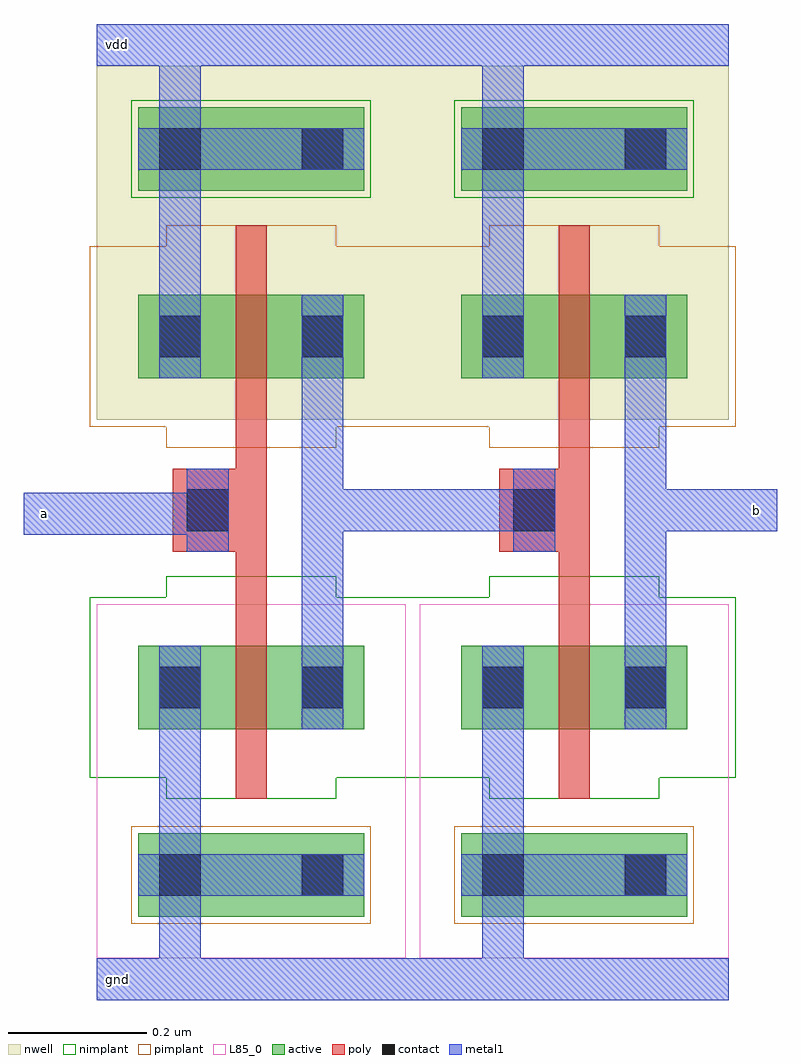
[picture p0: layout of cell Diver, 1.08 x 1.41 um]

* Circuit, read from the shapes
.subckt Diver a b gnd vdd
M1 n1 a gnd gnd nfet w=0.12u l=0.045u
M2 b n1 gnd gnd nfet w=0.12u l=0.045u
M3 n1 a vdd vdd pfet w=0.12u l=0.045u
M4 b n1 vdd vdd pfet w=0.12u l=0.045u
.ends

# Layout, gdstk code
import gdstk
lib = gdstk.Library(unit=1e-6, precision=5e-10)
def R(c, l, rs):  # rectangles x0, y0, x1, y1
    for r in rs: c.add(gdstk.rectangle(r[:2], r[2:], *l))
active = (1, 0)
nwell = (2, 0)
poly = (3, 0)
nimplant = (4, 0)
pimplant = (5, 0)
contact = (6, 0)
metal1 = (7, 0)
L85_0 = (85, 0)

pmos1v_cdns_765492982430 = lib.new_cell('pmos1v_CDNS_765492982430')
R(pmos1v_cdns_765492982430, active, [(-0.14,0,0,0.12), (0,0,0.045,0.12), (0.045,0,0.185,0.12), (-0.14,0.27,0.185,0.39)])
R(pmos1v_cdns_765492982430, nwell, [(-0.2,-0.06,0.245,0.45)])
R(pmos1v_cdns_765492982430, poly, [(0,-0.1,0.045,-0.05), (0,-0.05,0.045,0), (0,0,0.045,0.12), (0,0.12,0.045,0.17), (0,0.17,0.045,0.22)])
R(pmos1v_cdns_765492982430, nimplant, [(-0.15,0.26,0.195,0.4)])
R(pmos1v_cdns_765492982430, pimplant, [(-0.1,-0.1,0.145,0.22), (-0.21,-0.07,0.255,0.19)])
R(pmos1v_cdns_765492982430, contact, [(-0.11,0.03,-0.05,0.09), (0.095,0.03,0.155,0.09), (-0.11,0.3,-0.05,0.36), (0.095,0.3,0.155,0.36)])
R(pmos1v_cdns_765492982430, metal1, [(-0.11,0,-0.05,0.12), (0.095,0,0.155,0.12), (-0.14,0.3,0.185,0.36)])

nmos1v_cdns_765492982431 = lib.new_cell('nmos1v_CDNS_765492982431')
R(nmos1v_cdns_765492982431, active, [(-0.14,-0.27,0.185,-0.15), (-0.14,0,0,0.12), (0,0,0.045,0.12), (0.045,0,0.185,0.12)])
R(nmos1v_cdns_765492982431, poly, [(0,-0.1,0.045,-0.05), (0,-0.05,0.045,0), (0,0,0.045,0.12), (0,0.12,0.045,0.17), (0,0.17,0.045,0.22)])
R(nmos1v_cdns_765492982431, nimplant, [(-0.1,-0.1,0.145,0.22), (-0.21,-0.07,0.255,0.19)])
R(nmos1v_cdns_765492982431, pimplant, [(-0.15,-0.28,0.195,-0.14)])
R(nmos1v_cdns_765492982431, contact, [(-0.11,-0.24,-0.05,-0.18), (0.095,-0.24,0.155,-0.18), (-0.11,0.03,-0.05,0.09), (0.095,0.03,0.155,0.09)])
R(nmos1v_cdns_765492982431, metal1, [(-0.14,-0.24,0.185,-0.18), (-0.11,0,-0.05,0.12), (0.095,0,0.155,0.12)])
R(nmos1v_cdns_765492982431, L85_0, [(-0.2,-0.33,0.245,0.18)])

m1_po_cdns_765492982430 = lib.new_cell('M1_PO_CDNS_765492982430')
R(m1_po_cdns_765492982430, poly, [(-0.05,-0.06,0.05,0.06)])
R(m1_po_cdns_765492982430, contact, [(-0.03,-0.03,0.03,0.03)])
R(m1_po_cdns_765492982430, metal1, [(-0.03,-0.06,0.03,0.06)])

diver = lib.new_cell('Diver')
R(diver, nwell, [(0.88,-1.09,0.985,-0.58)])
R(diver, metal1, [(0.47,-1.925,0.53,-1.865), (0.365,-1.255,0.425,-1.195), (1.39,-1.25,1.45,-1.19), (0.47,-0.58,0.53,-0.52)])
diver.add(gdstk.FlexPath([(0.6925,-1.13),(0.6925,-1.315)], 0.045, ends="flush", simple_path=True, layer=3, datatype=0))  # poly
diver.add(gdstk.FlexPath([(1.1575,-1.13),(1.1575,-1.315)], 0.045, ends="flush", simple_path=True, layer=3, datatype=0))  # poly
diver.add(gdstk.FlexPath([(0.63,-1.225),(0.63,-1.22)], 0.06, ends=(0.03, 0), simple_path=True, layer=7, datatype=0))  # metal1
diver.add(gdstk.FlexPath([(0.395,-1.225),(0.63,-1.225)], 0.06, ends=(0, 0.03), simple_path=True, layer=7, datatype=0))  # metal1
diver.add(gdstk.FlexPath([(0.795,-1.22),(1.1,-1.22)], 0.06, ends=(0.03, 0), simple_path=True, layer=7, datatype=0))  # metal1
diver.add(gdstk.FlexPath([(1.38,-0.55),(0.59,-0.55)], 0.06, ends=(0, 0.03), simple_path=True, layer=7, datatype=0))  # metal1
diver.add(gdstk.FlexPath([(0.795,-1.22),(0.795,-1.415)], 0.06, ends=(0.03, 0), simple_path=True, layer=7, datatype=0))  # metal1
diver.add(gdstk.FlexPath([(1.38,-1.895),(0.59,-1.895)], 0.06, ends=(0, 0.03), simple_path=True, layer=7, datatype=0))  # metal1
diver.add(gdstk.FlexPath([(0.59,-1.895),(0.47,-1.895)], 0.06, ends=(0.03, 0), simple_path=True, layer=7, datatype=0))  # metal1
diver.add(gdstk.FlexPath([(0.59,-0.55),(0.47,-0.55)], 0.06, ends=(0.03, 0), simple_path=True, layer=7, datatype=0))  # metal1
diver.add(gdstk.FlexPath([(1.42,-1.22),(1.26,-1.22)], 0.06, ends=(0, 0.03), simple_path=True, layer=7, datatype=0))  # metal1
diver.add(gdstk.FlexPath([(0.59,-1.535),(0.59,-1.895)], 0.06, ends=(0, 0.03), simple_path=True, layer=7, datatype=0))  # metal1
diver.add(gdstk.FlexPath([(1.055,-1.535),(1.055,-1.895)], 0.06, ends=(0, 0.03), simple_path=True, layer=7, datatype=0))  # metal1
diver.add(gdstk.FlexPath([(1.055,-0.91),(1.055,-0.55)], 0.06, ends=(0, 0.03), simple_path=True, layer=7, datatype=0))  # metal1
diver.add(gdstk.FlexPath([(0.59,-0.91),(0.59,-0.55)], 0.06, ends=(0, 0.03), simple_path=True, layer=7, datatype=0))  # metal1
diver.add(gdstk.FlexPath([(0.795,-1.03),(0.795,-1.22)], 0.06, ends=(0, 0.03), simple_path=True, layer=7, datatype=0))  # metal1
diver.add(gdstk.FlexPath([(1.26,-1.03),(1.26,-1.415)], 0.06, ends="flush", simple_path=True, layer=7, datatype=0))  # metal1
diver.add(gdstk.Reference(pmos1v_cdns_765492982430, (1.135,-1.03)))
diver.add(gdstk.Reference(pmos1v_cdns_765492982430, (0.67,-1.03)))
diver.add(gdstk.Reference(nmos1v_cdns_765492982431, (1.135,-1.535)))
diver.add(gdstk.Reference(nmos1v_cdns_765492982431, (0.67,-1.535)))
diver.add(gdstk.Reference(m1_po_cdns_765492982430, (1.1,-1.22)))
diver.add(gdstk.Reference(m1_po_cdns_765492982430, (0.63,-1.22)))
diver.add(gdstk.Label('b', (1.42,-1.22), layer=7, texttype=3))
diver.add(gdstk.Label('a', (0.395,-1.225), layer=7, texttype=3))
diver.add(gdstk.Label('gnd', (0.5,-1.895), layer=7, texttype=3))
diver.add(gdstk.Label('vdd', (0.5,-0.55), layer=7, texttype=3))

lib.write_gds('Diver.gds')
